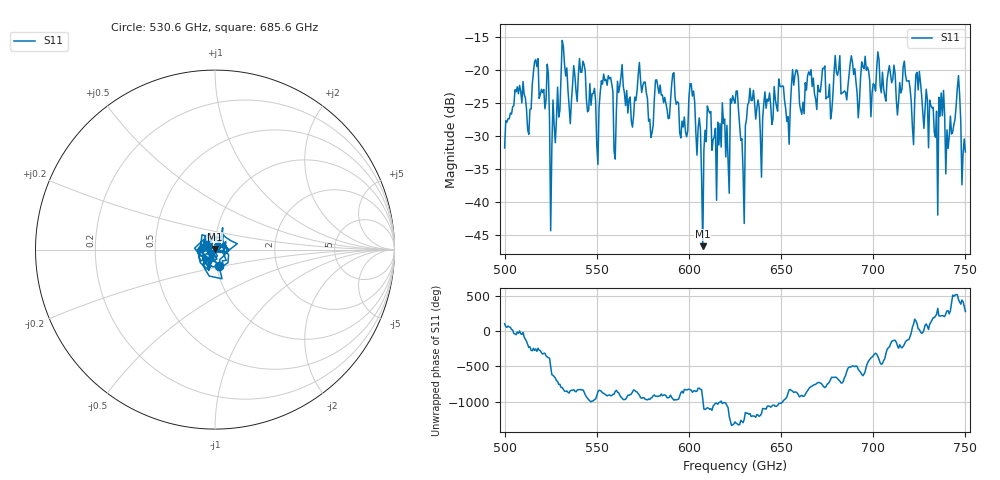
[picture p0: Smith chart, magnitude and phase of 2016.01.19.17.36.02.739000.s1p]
!Created with skrf (http://scikit-rf.org).
# GHz S RI R 50.0
!freq ReS11 ImS11
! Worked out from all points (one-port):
!   401 points, 500 GHz to 750 GHz, reference 50 ohm
!   lowest |S11| = -46.6 dB at 607.5 GHz (marker M1), VSWR 1.01, Z = 49.7 + j0.378 ohm
!   |S11| at or under -10 dB: start of sweep to end of sweep
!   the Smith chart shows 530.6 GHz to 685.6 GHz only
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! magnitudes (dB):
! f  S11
! 500 GHz  -31.8
! 506.9 GHz  -22.6
! 513.1 GHz  -29.7
! 516.9 GHz  -18.4
! 526.2 GHz  -24.5
! 531.2 GHz  -15.5
! 550.6 GHz  -34.3
! 555 GHz  -21.4
! 560.6 GHz  -26.4
! 562.5 GHz  -22.4
! 574.4 GHz  -23.4
! 579.4 GHz  -30.2
! 583.1 GHz  -22.5
! 593.8 GHz  -24.8
! 601.9 GHz  -24.0
! 607.5 GHz  -46.6
! 610.6 GHz  -26.1
! 620.6 GHz  -28.4
! 625 GHz  -25.0
! 629.4 GHz  -35.3
! 633.8 GHz  -24.6
! 639.4 GHz  -36.2
! 656.2 GHz  -19.9
! 687.5 GHz  -19.0
! 718.8 GHz  -21.7
! 733.8 GHz  -30.2
! 746.2 GHz  -20.9
! 750 GHz  -32.4
